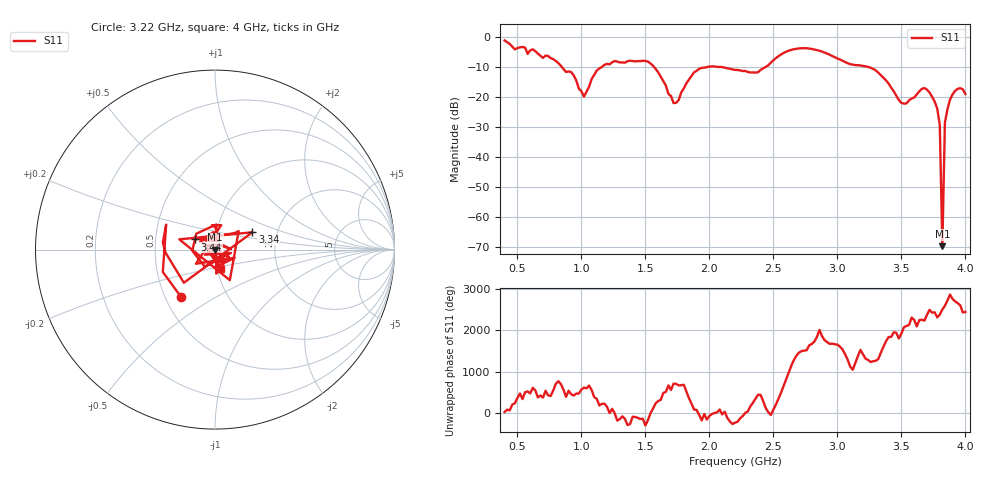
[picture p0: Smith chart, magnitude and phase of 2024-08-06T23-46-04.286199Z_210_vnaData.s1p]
!Created with skrf (http://scikit-rf.org).
# Hz S RI R 50.0
!freq ReS11 ImS11
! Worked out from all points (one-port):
!   181 points, 400 MHz to 4 GHz, reference 50 ohm
!   lowest |S11| = -69.6 dB at 3.82 GHz (marker M1), VSWR 1.00, Z = 50 - j0.00699 ohm
!   |S11| at or under -10 dB: 1.567 GHz to 1.986 GHz (419.1 MHz wide, 23.6 % of centre); 2.063 GHz to 2.439 GHz (376.2 MHz wide, 16.7 % of centre); 3.24 GHz to end of sweep (the widest 3 of 4)
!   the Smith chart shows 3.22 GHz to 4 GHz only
!   S11 on the Smith chart (normalised r, x): 3.22 GHz: 0.60, -0.35; 3.34 GHz: 1.49, +0.30; 3.44 GHz: 0.80, +0.09; 4 GHz: 1.04, -0.23
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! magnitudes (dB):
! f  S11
! 400 MHz  -1.2
! 860 MHz  -10.7
! 940 MHz  -12.8
! 1.02 GHz  -19.9
! 1.12 GHz  -11.2
! 1.3 GHz  -8.5
! 1.52 GHz  -8.2
! 1.6 GHz  -11.8
! 1.72 GHz  -22.0
! 1.76 GHz  -21.0
! 1.92 GHz  -10.6
! 2.2 GHz  -11.0
! 2.38 GHz  -11.8
! 2.66 GHz  -4.1
! 3.1 GHz  -9.1
! 3.22 GHz  -9.8
! 3.34 GHz  -12.8
! 3.44 GHz  -18.1
! 3.5 GHz  -22.0
! 3.56 GHz  -21.1
! 3.68 GHz  -17.0
! 3.78 GHz  -23.8
! 3.8 GHz  -29.4
! 3.82 GHz  -69.6
! 3.84 GHz  -28.6
! 3.9 GHz  -19.1
! 3.96 GHz  -17.1
! 4 GHz  -19.0
